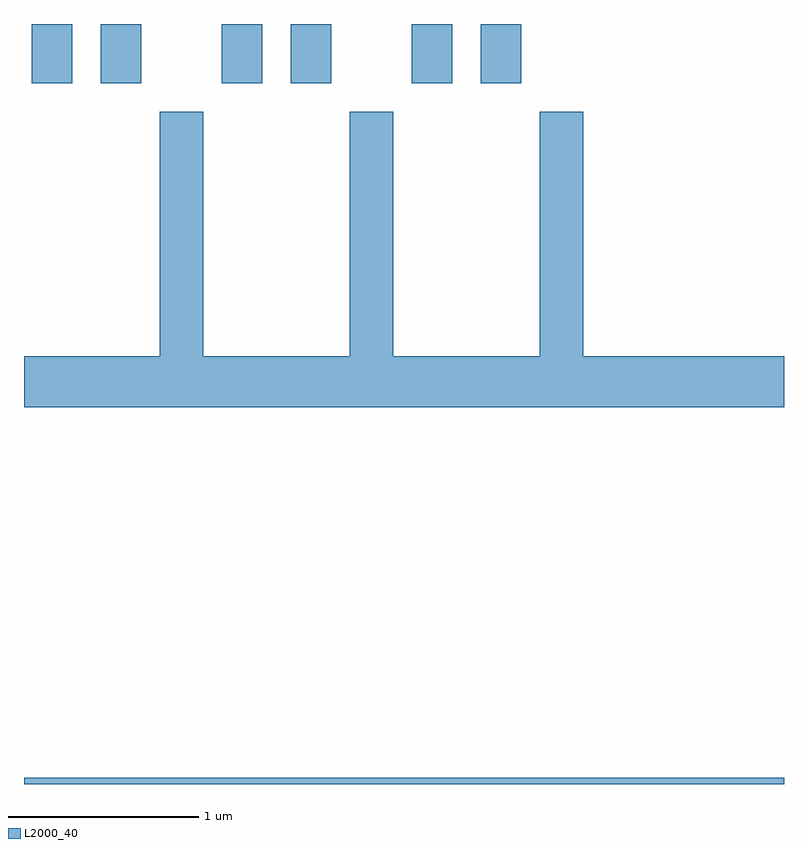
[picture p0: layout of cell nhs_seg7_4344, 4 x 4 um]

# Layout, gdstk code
import gdstk
lib = gdstk.Library(unit=1e-6, precision=1e-09)
def R(c, l, rs):  # rectangles x0, y0, x1, y1
    for r in rs: c.add(gdstk.rectangle(r[:2], r[2:], *l))
def P(c, l, *ps):  # polygons
    for p in ps: c.add(gdstk.Polygon(p, *l))
L2000_40 = (2000, 40)

nhs_seg7_4344 = lib.new_cell('nhs_seg7_4344')
R(nhs_seg7_4344, L2000_40, [(317.611,1792.252,321.611,1792.284), (317.651,1795.941,317.864,1796.252), (318.016,1795.941,318.229,1796.252), (318.651,1795.941,318.864,1796.252), (319.016,1795.941,319.229,1796.252), (319.651,1795.941,319.864,1796.252), (320.016,1795.941,320.229,1796.252)])
P(nhs_seg7_4344, L2000_40, [(321.611,1794.504),(320.554,1794.504),(320.554,1795.789),(320.326,1795.789),(320.326,1794.504),(319.554,1794.504),(319.554,1795.789),(319.326,1795.789),(319.326,1794.504),(318.554,1794.504),(318.554,1795.789),(318.326,1795.789),(318.326,1794.504),(317.611,1794.504),(317.611,1794.236),(321.611,1794.236)])

lib.write_gds('nhs_seg7_4344.gds')
